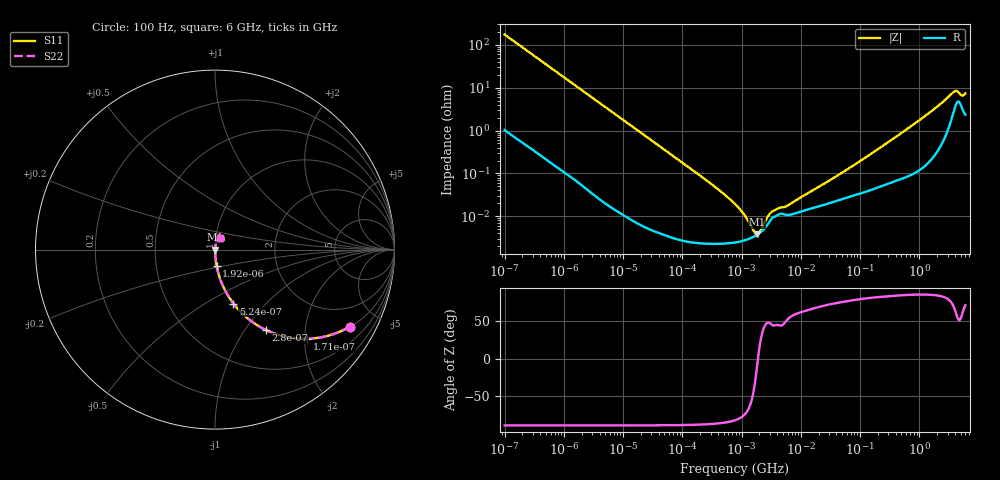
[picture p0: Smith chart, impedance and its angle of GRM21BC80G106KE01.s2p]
!Murata Part Number: GRM21BC80G106KE01
!These Parameters are Measured in Series Mode Connection
!Data Generated on Mar 30, 2021
!  o--ll--o
!Port1  Port2
!  o------o
!Operation Temp=25[degC], DC Bias Voltage=0[V]
!Freq. Start=100[Hz] Stop=6[GHz] 401[Steps]
# Hz S RI R 50
!Freq.(Hz) S11(Real) S11(Imag) S21(Real) S21(Imag) S12(Real) S12(Imag) S22(Real) S22(Imag)
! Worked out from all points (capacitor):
!   401 points, 100 Hz to 6 GHz, reference 50 ohm
!   read as one part in series: C = 9.09 uF near 109 Hz
!   lowest |Z| = 3.76 mohm at 1.814 MHz (marker M1)
!   series resonance near 1.889 MHz, so ESL is about 780 pH
!   S11 on the Smith chart (normalised r, x): 100 Hz: 1.02, -3.49; 171 Hz: 1.01, -2.05; 280 Hz: 1.01, -1.25; 524 Hz: 1.00, -0.67; 1.92 kHz: 1.00, -0.18; 6 GHz: 1.05, +0.14
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100  0.752 -0.4289  0.248 0.4289  0.248 0.4289  0.752 -0.4289
171  0.5113 -0.4969  0.4887 0.4969  0.4887 0.4969  0.5113 -0.4969
280  0.2829 -0.4474  0.7171 0.4474  0.7171 0.4474  0.2829 -0.4474
524  0.1026 -0.3004  0.8974 0.3004  0.8974 0.3004  0.1026 -0.3004
1920  0.00894 -0.0912  0.9911 0.0912  0.9911 0.0912  0.00894 -0.0912
2008  0.0082 -0.0873  0.9918 0.0873  0.9918 0.0873  0.0082 -0.0873
6433  0.000917 -0.0276  0.9991 0.0276  0.9991 0.0276  0.000917 -0.0276
40335  5.99e-05 -0.00442  0.9999 0.00442  0.9999 0.00442  5.99e-05 -0.00442
330837  2.3e-05 -0.000525  1 0.000525  1 0.000525  2.3e-05 -0.000525
774597  2.45e-05 -0.000192  1 0.000192  1 0.000192  2.45e-05 -0.000192
1159002  2.77e-05 -9.61e-05  1 9.61e-05  1 9.61e-05  2.77e-05 -9.61e-05
1813585  3.68e-05 -7.7e-06  1 7.7e-06  1 7.7e-06  3.68e-05 -7.7e-06
2713602  6.23e-05 6.94e-05  0.9999 -6.94e-05  0.9999 -6.94e-05  6.23e-05 6.94e-05
3549919  9.71e-05 9.54e-05  0.9999 -9.54e-05  0.9999 -9.54e-05  9.71e-05 9.54e-05
5809218  0.000108 0.000137  0.9999 -0.000137  0.9999 -0.000137  0.000108 0.000137
1.555665e7  0.000154 0.000362  0.9998 -0.000362  0.9998 -0.000362  0.000154 0.000362
3.124326e8  0.000621 0.00556  0.9994 -0.00556  0.9994 -0.00556  0.000621 0.00556
1.431855e9  0.00242 0.025  0.9976 -0.025  0.9976 -0.025  0.00242 0.025
3.8344e9  0.0329 0.0705  0.9671 -0.0705  0.9671 -0.0705  0.0329 0.0705
4.193612e9  0.0448 0.0676  0.9552 -0.0676  0.9552 -0.0676  0.0448 0.0676
5.245841e9  0.0356 0.0521  0.9644 -0.0521  0.9644 -0.0521  0.0356 0.0521
6e9  0.0275 0.0672  0.9725 -0.0672  0.9725 -0.0672  0.0275 0.0672
